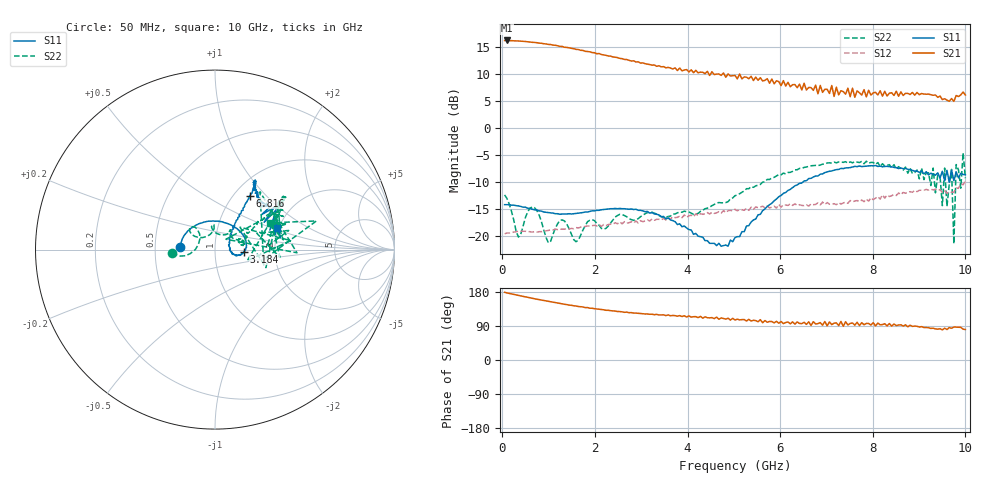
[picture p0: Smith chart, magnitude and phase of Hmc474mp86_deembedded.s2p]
!Hittite Microwave Corporation
!12 Elizabeth Drive
!Chelmsford, MA 01824
!Tel: 978-250-3343
!Fax: 978-250-3373
!Device: HMC474MP86, DC-6 GHz, SiGe HBT Gain Block MMIC Amplifier in Micro-P package
!Misc: Vs = 5V, Room, Rb=110Ohms Is=25mA
# MHZ S MA R 50
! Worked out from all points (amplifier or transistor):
!   201 points, 50 MHz to 10 GHz, reference 50 ohm
!   highest |S21| = 16.2 dB at 99.75 MHz (marker M1)
!   |S21| within 3 dB of that: start of sweep to 2.369 GHz
!   unconditionally stable (mu >= 1): start of sweep to 6.511 GHz; 6.529 GHz to 6.64 GHz; 9.209 GHz to 9.941 GHz (the widest 3 of 10)
!   at 1.692 GHz: K = 1.07, MAG = 14.8 dB, |S12| = -18.4 dB
!   at 5.025 GHz: K = 1.15, MAG = 10.1 dB, |S12| = -15.1 dB
!   at 10 GHz: K = 1.00, MAG = 7.7 dB, |S12| = -9.9 dB
!   S11 on the Smith chart (normalised r, x): 50 MHz: 0.68, +0.02; 3.184 GHz: 1.39, -0.03; 6.816 GHz: 1.18, +0.81; 10 GHz: 1.96, +0.55
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50  0.194 176.0  6.463 178.7  0.104 1.2  0.239 -175.9
99.75  0.194 172.8  6.468 177.1  0.106 1.2  0.222 -172.7
945.5  0.165 112.5  6.002 155.7  0.111 17.4  0.096 135.7
1741.5  0.164 54.6  5.229 140.0  0.121 31.1  0.113 51.0
3184.25  0.162 -3.8  3.865 120.6  0.137 52.3  0.165 12.0
3383.25  0.156 -7.5  3.765 118.9  0.142 53.3  0.154 15.4
5025  0.096 30.0  3.066 105.6  0.176 71.4  0.235 28.4
6617  0.339 56.6  2.372 100.8  0.188 81.6  0.44 35.9
6666.75  0.341 56.3  2.364 91.2  0.197 83.1  0.445 35.4
6716.5  0.35 57.2  2.226 101.1  0.194 81.6  0.447 37.5
6766.25  0.358 56.7  2.491 94.9  0.195 84.1  0.449 35.4
6816  0.358 57.2  2.072 96.0  0.202 82.6  0.447 37.3
7114.5  0.399 57.8  2.469 93.4  0.197 89.0  0.472 35.7
7164.25  0.405 58.2  1.957 97.2  0.198 87.4  0.482 37.9
7214  0.41 57.5  2.383 97.9  0.194 88.4  0.474 36.1
7363.25  0.419 58.6  2.169 88.9  0.201 89.3  0.479 37.0
7413  0.425 58.7  2.053 101.1  0.205 89.4  0.486 38.5
8358.25  0.437 59.8  2.099 96.2  0.231 97.0  0.456 36.0
9701.5  0.406 33.0  1.872 83.8  0.252 99.0  0.412 31.3
9751.25  0.324 19.5  1.761 87.1  0.253 105.3  0.084 43.5
9801  0.391 29.1  1.996 86.7  0.278 100.7  0.457 -2.2
10000  0.367 19.2  2.018 80.5  0.32 99.4  0.341 26.0
